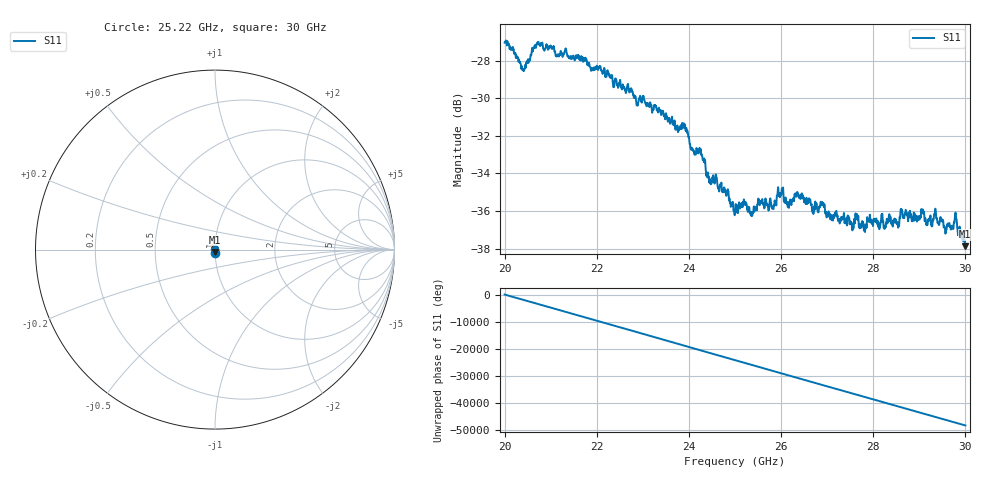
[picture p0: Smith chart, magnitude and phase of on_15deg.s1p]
#  HZ  S  RI  R  50.00
! Rohde & Schwarz ZVA40 4Ports - Version 3.90 - 1145.1110k42 SN: 100403
! Date: 2023-10-03 12:22:15
! Measurement: S12
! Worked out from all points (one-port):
!   5001 points, 20 GHz to 30 GHz, reference 50 ohm
!   lowest |S11| = -37.9 dB at 30 GHz (marker M1), VSWR 1.03, Z = 50.1 - j1.28 ohm
!   |S11| at or under -10 dB: start of sweep to end of sweep
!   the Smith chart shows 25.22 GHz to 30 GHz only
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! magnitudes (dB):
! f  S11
! 20 GHz  -27.0
! 20.41 GHz  -28.6
! 20.7 GHz  -27.1
! 21.25 GHz  -27.7
! 21.74 GHz  -28.0
! 22.5 GHz  -29.1
! 23.75 GHz  -31.5
! 23.93 GHz  -31.7
! 24.08 GHz  -32.7
! 24.27 GHz  -33.0
! 24.44 GHz  -34.3
! 24.81 GHz  -35.2
! 25 GHz  -36.1
! 25.84 GHz  -35.8
! 25.98 GHz  -35.1
! 26.13 GHz  -35.6
! 26.25 GHz  -35.5
! 26.34 GHz  -35.1
! 27.5 GHz  -36.6
! 28.26 GHz  -36.9
! 28.75 GHz  -36.3
! 29.06 GHz  -36.1
! 29.16 GHz  -36.7
! 29.34 GHz  -36.1
! 29.58 GHz  -37.0
! 29.78 GHz  -36.2
! 30 GHz  -37.9
! 30 GHz  -37.8
